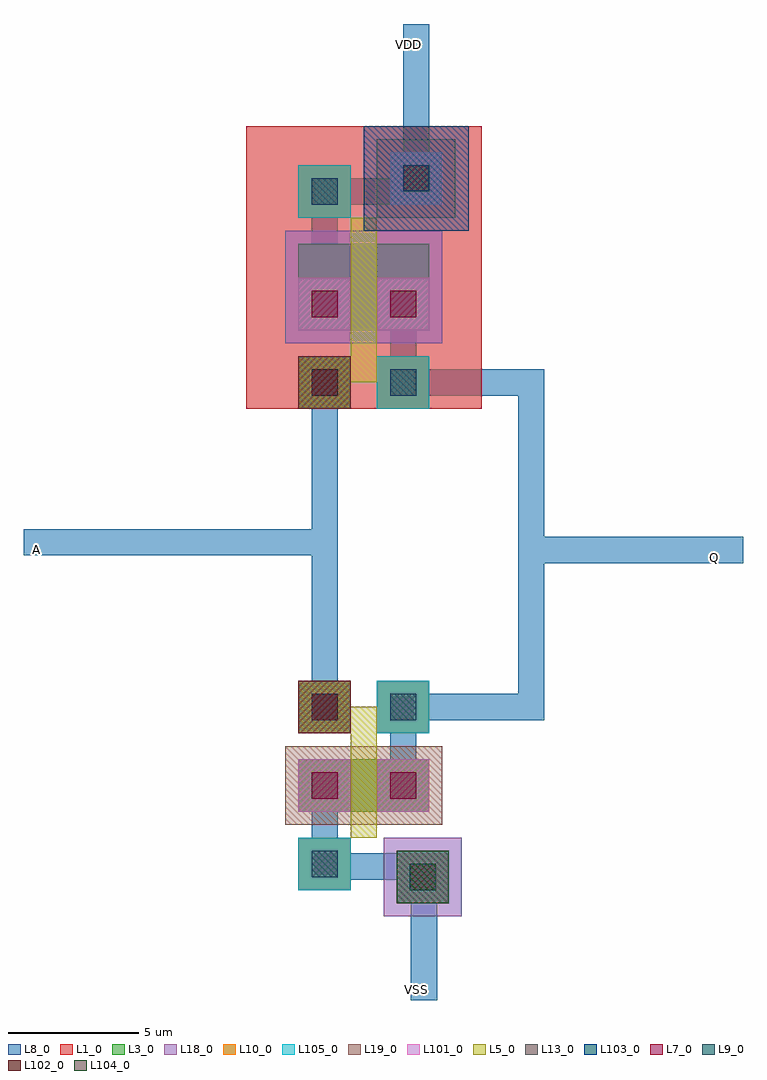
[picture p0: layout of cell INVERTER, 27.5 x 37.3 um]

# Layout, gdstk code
import gdstk
lib = gdstk.Library(unit=1e-6, precision=1e-09)
def R(c, l, rs):  # rectangles x0, y0, x1, y1
    for r in rs: c.add(gdstk.rectangle(r[:2], r[2:], *l))
def A(c, l, x, y, w, h, nx, ny, dx, dy):  # array of equal rectangles
    R(c, l, [(x+i*dx, y+j*dy, x+i*dx+w, y+j*dy+h) for i in range(nx) for j in range(ny)])
L1_0 = (1, 0)
L3_0 = (3, 0)
L5_0 = (5, 0)
L7_0 = (7, 0)
L8_0 = (8, 0)
L9_0 = (9, 0)
L10_0 = (10, 0)
L13_0 = (13, 0)
L18_0 = (18, 0)
L19_0 = (19, 0)
L101_0 = (101, 0)
L102_0 = (102, 0)
L103_0 = (103, 0)
L104_0 = (104, 0)
L105_0 = (105, 0)

inverter = lib.new_cell('INVERTER')
R(inverter, L1_0, [(28.7,-15.7,37.7,-4.9), (33.2,-8.9,37.2,-4.9)])
R(inverter, L3_0, [(34.45,-34.6,36.45,-32.6), (30.7,-31.1,35.7,-29.1), (30.7,-31.1,32.7,-29.1), (33.7,-31.1,35.7,-29.1), (30.7,-12.7,32.7,-10.7), (30.7,-12.7,35.7,-9.4), (33.7,-12.7,35.7,-10.7), (34.2,-7.9,36.2,-5.9)])
R(inverter, L5_0, [(30.7,-28.1,32.7,-26.1), (30.7,-15.7,32.7,-13.7)])
R(inverter, L7_0, [(34.95,-34.1,35.95,-33.1), (31.2,-30.6,32.2,-29.6), (34.2,-30.6,35.2,-29.6), (31.2,-27.6,32.2,-26.6), (31.2,-15.2,32.2,-14.2), (31.2,-12.2,32.2,-11.2), (34.2,-12.2,35.2,-11.2), (34.7,-7.4,35.7,-6.4)])
A(inverter, L8_0, 30.7, -34.1, 2, 2, 1, 3, 0, 3)
R(inverter, L8_0, [(34.45,-34.6,36.45,-32.6), (34.45,-34.6,36.45,-32.6), (33.7,-31.1,35.7,-29.1), (30.7,-28.1,32.7,-26.1), (33.7,-28.1,35.7,-26.1), (30.7,-15.7,32.7,-13.7), (30.7,-15.7,32.7,-13.7), (33.7,-15.7,35.7,-13.7), (30.7,-12.7,32.7,-10.7), (33.7,-12.7,35.7,-10.7), (30.7,-8.4,32.7,-6.4), (34.2,-7.9,36.2,-5.9), (34.2,-7.9,36.2,-5.9)])
R(inverter, L9_0, [(34.95,-34.1,35.95,-33.1), (31.2,-33.6,32.2,-32.6), (31.2,-27.6,32.2,-26.6), (34.2,-27.6,35.2,-26.6), (31.2,-15.2,32.2,-14.2), (34.2,-15.2,35.2,-14.2), (31.2,-7.9,32.2,-6.9), (34.7,-7.4,35.7,-6.4)])
R(inverter, L10_0, [(34.45,-34.6,36.45,-32.6), (30.7,-34.1,32.7,-32.1), (30.7,-28.1,32.7,-26.1), (33.7,-28.1,35.7,-26.1), (30.7,-15.7,32.7,-13.7), (33.7,-15.7,35.7,-13.7), (30.7,-8.4,32.7,-6.4), (34.2,-7.9,36.2,-5.9)])
A(inverter, L13_0, 31.2, -33.6, 1, 1, 1, 3, 0, 3)
R(inverter, L13_0, [(34.95,-34.1,35.95,-33.1), (34.95,-34.1,35.95,-33.1), (34.2,-30.6,35.2,-29.6), (31.2,-27.6,32.2,-26.6), (34.2,-27.6,35.2,-26.6), (31.2,-15.2,32.2,-14.2), (31.2,-15.2,32.2,-14.2), (34.2,-15.2,35.2,-14.2), (31.2,-12.2,32.2,-11.2), (34.2,-12.2,35.2,-11.2), (31.2,-7.9,32.2,-6.9), (34.7,-7.4,35.7,-6.4), (34.7,-7.4,35.7,-6.4)])
R(inverter, L18_0, [(33.95,-35.1,36.95,-32.1), (30.2,-13.2,36.2,-8.9)])
R(inverter, L19_0, [(30.2,-31.6,36.2,-28.6), (33.7,-8.4,36.7,-5.4)])
R(inverter, L101_0, [(34.45,-34.6,36.45,-32.6), (30.7,-31.1,32.7,-29.1), (33.7,-31.1,35.7,-29.1), (30.7,-12.7,32.7,-10.7), (33.7,-12.7,35.7,-10.7), (34.2,-7.9,36.2,-5.9)])
R(inverter, L102_0, [(30.7,-28.1,32.7,-26.1), (30.7,-15.7,32.7,-13.7)])
R(inverter, L103_0, [(33.2,-8.9,37.2,-4.9)])
R(inverter, L104_0, [(34.45,-34.6,36.45,-32.6)])
R(inverter, L105_0, [(34.45,-34.6,36.45,-32.6), (30.7,-34.1,32.7,-32.1), (30.7,-28.1,32.7,-26.1), (33.7,-28.1,35.7,-26.1), (30.7,-15.7,32.7,-13.7), (33.7,-15.7,35.7,-13.7), (30.7,-8.4,32.7,-6.4), (34.2,-7.9,36.2,-5.9)])
inverter.add(gdstk.FlexPath([(31.7,-31.1),(31.7,-29.1)], 2, ends="flush", simple_path=True, layer=8, datatype=0))  # L8_0
inverter.add(gdstk.FlexPath([(34.7,-31.1),(34.7,-29.1)], 2, ends="flush", simple_path=True, layer=8, datatype=0))  # L8_0
inverter.add(gdstk.FlexPath([(31.7,-33.1),(31.7,-30.1)], 1, ends="flush", simple_path=True, layer=8, datatype=0))  # L8_0
inverter.add(gdstk.FlexPath([(34.7,-30.1),(34.7,-27.1)], 1, ends="flush", simple_path=True, layer=8, datatype=0))  # L8_0
inverter.add(gdstk.FlexPath([(31.7,-12.7),(31.7,-9.4)], 2, ends="flush", simple_path=True, layer=8, datatype=0))  # L8_0
inverter.add(gdstk.FlexPath([(34.7,-12.7),(34.7,-9.4)], 2, ends="flush", simple_path=True, layer=8, datatype=0))  # L8_0
inverter.add(gdstk.FlexPath([(31.7,-10.4),(31.7,-7.4)], 1, ends="flush", simple_path=True, layer=8, datatype=0))  # L8_0
inverter.add(gdstk.FlexPath([(34.7,-14.7),(34.7,-11.7)], 1, ends="flush", simple_path=True, layer=8, datatype=0))  # L8_0
inverter.add(gdstk.FlexPath([(31.7,-14.7),(31.7,-27.3)], 1, ends="flush", simple_path=True, layer=8, datatype=0))  # L8_0
inverter.add(gdstk.FlexPath([(34.7,-14.7),(39.6,-14.7),(39.6,-27.1),(34.7,-27.1)], 1, ends="flush", simple_path=True, layer=8, datatype=0))  # L8_0
inverter.add(gdstk.FlexPath([(31.7,-20.8),(20.2,-20.8)], 1, ends="flush", simple_path=True, layer=8, datatype=0))  # L8_0
inverter.add(gdstk.FlexPath([(39.6,-21.1),(47.7,-21.1)], 1, ends="flush", simple_path=True, layer=8, datatype=0))  # L8_0
inverter.add(gdstk.FlexPath([(31.7,-7.4),(35.2,-7.4),(35.2,-1)], 1, ends="flush", simple_path=True, layer=8, datatype=0))  # L8_0
inverter.add(gdstk.FlexPath([(31.7,-33.2),(35.5,-33.2),(35.5,-38.3)], 1, ends="flush", simple_path=True, layer=8, datatype=0))  # L8_0
inverter.add(gdstk.FlexPath([(33.2,-31.1),(33.2,-29.1)], 1, ends=(1, 1), simple_path=True, layer=5, datatype=0))  # L5_0
inverter.add(gdstk.FlexPath([(31.7,-27.6),(33.2,-27.6),(33.2,-28.1)], 1, ends="flush", simple_path=True, layer=5, datatype=0))  # L5_0
inverter.add(gdstk.FlexPath([(33.2,-12.7),(33.2,-9.4)], 1, ends=(1, 1), simple_path=True, layer=5, datatype=0))  # L5_0
inverter.add(gdstk.FlexPath([(31.7,-14.2),(33.2,-14.2),(33.2,-13.7)], 1, ends="flush", simple_path=True, layer=5, datatype=0))  # L5_0
inverter.add(gdstk.Label('A', (20.7,-21.1), layer=8, texttype=0))
inverter.add(gdstk.Label('Q', (46.6,-21.4), layer=8, texttype=0))
inverter.add(gdstk.Label('VDD', (34.9,-1.8), layer=8, texttype=0))
inverter.add(gdstk.Label('VSS', (35.2,-37.9), layer=8, texttype=0))

lib.write_gds('INVERTER.gds')
